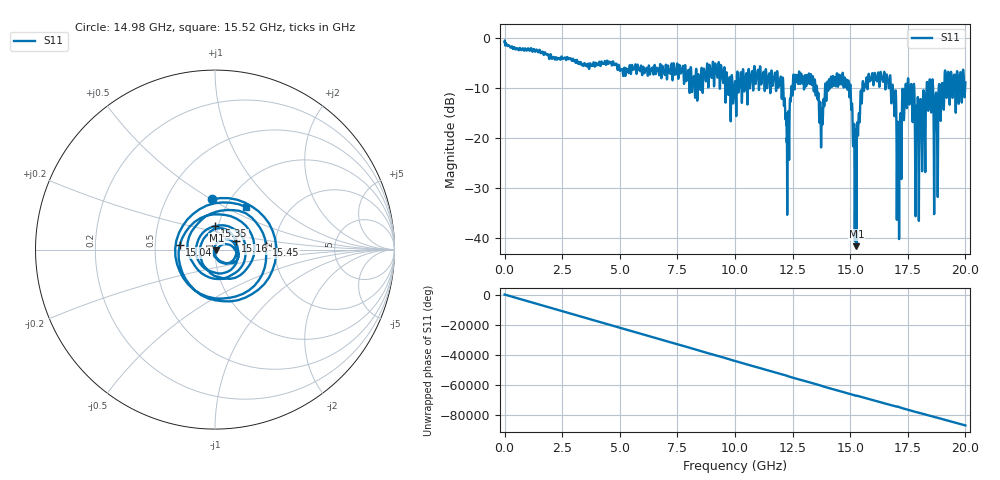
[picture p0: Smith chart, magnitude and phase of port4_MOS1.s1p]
! MS46122B
! 2250307/22442219
! 6/16/2025 7:51:24 AM
! C:\USERS\SPARKY\DOCUMENTS\VNA_DATA\JUNE16_2025\3.1K\PORT4_MOS1.S1P
! CHANNEL.1
! TR.MEASUREMENT
! RAW.DATA
# GHZ S RI R 50.0
! FREQ.GHZ  S11RE  S11IM
!; PortSelection: Port_1
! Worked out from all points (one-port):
!   10001 points, 1 MHz to 20 GHz, reference 50 ohm
!   lowest |S11| = -41.5 dB at 15.27 GHz (marker M1), VSWR 1.02, Z = 50.8 - j0.346 ohm
!   |S11| at or under -10 dB: 15.02 GHz to 15.53 GHz (510.4 MHz wide, 3.34 % of centre); 16.85 GHz to 17.39 GHz (536.7 MHz wide, 3.13 % of centre); 17.78 GHz to 18.32 GHz (536.2 MHz wide, 2.97 % of centre) (the widest 3 of 60)
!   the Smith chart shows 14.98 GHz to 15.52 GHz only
!   S11 on the Smith chart (normalised r, x): 14.98 GHz: 0.83, +0.50; 15.04 GHz: 0.67, +0.04; 15.16 GHz: 1.25, +0.12; 15.35 GHz: 0.96, +0.26; 15.45 GHz: 1.79, +0.10; 15.52 GHz: 1.24, +0.64
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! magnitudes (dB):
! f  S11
! 1 MHz  -0.9
! 2.501 GHz  -4.1
! 5.001 GHz  -6.6
! 7.501 GHz  -5.3
! 10 GHz  -8.8
! 11.9 GHz  -8.7
! 12.27 GHz  -25.4
! 12.5 GHz  -10.8
! 13.29 GHz  -7.3
! 13.74 GHz  -21.9
! 14.17 GHz  -7.8
! 14.98 GHz  -11.0
! 15 GHz  -9.3
! 15.04 GHz  -14.1
! 15.16 GHz  -18.1
! 15.27 GHz  -41.5
! 15.35 GHz  -17.7
! 15.45 GHz  -10.9
! 15.52 GHz  -10.6
! 16.66 GHz  -9.3
! 17.11 GHz  -29.9
! 17.5 GHz  -8.7
! 17.7 GHz  -15.6
! 17.91 GHz  -13.8
! 18.39 GHz  -14.2
! 18.72 GHz  -11.2
! 19.18 GHz  -12.0
! 20 GHz  -8.9
